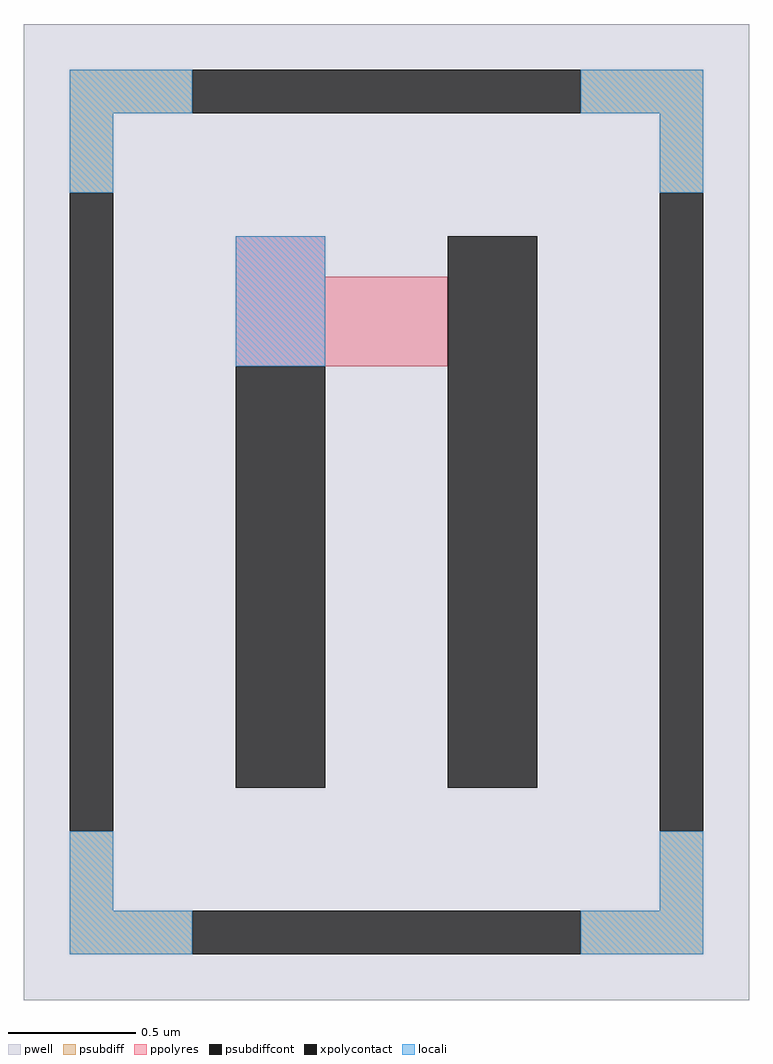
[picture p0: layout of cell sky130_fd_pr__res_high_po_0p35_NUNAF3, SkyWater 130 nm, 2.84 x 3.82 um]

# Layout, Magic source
magic
tech sky130A
<< pwell >>
rect -142 -191 142 191
<< psubdiff >>
rect -124 156 -76 173
rect 76 156 124 173
rect -124 125 -107 156
rect 107 125 124 156
rect -124 -156 -107 -125
rect 107 -156 124 -125
rect -124 -173 -76 -156
rect 76 -173 124 -156
<< psubdiffcont >>
rect -76 156 76 173
rect -124 -125 -107 125
rect 107 -125 124 125
rect -76 -173 76 -156
<< xpolycontact >>
rect -59 -108 -24 57
rect 24 -108 59 108
<< ppolyres >>
rect -59 92 -24 108
rect -59 57 24 92
<< locali >>
rect -124 156 -76 173
rect 76 156 124 173
rect -124 125 -107 156
rect 107 125 124 156
rect -59 57 -24 108
rect -124 -156 -107 -125
rect 107 -156 124 -125
rect -124 -173 -76 -156
rect 76 -173 124 -156
<< properties >>
string FIXED_BBOX -115 -164 115 164
string gencell sky130_fd_pr__res_high_po_0p35
string library sky130
string parameters w 0.35 l 2 m 1 nx 2 wmin 0.350 lmin 0.50 rho 319.8 val 5.087k dummy 0 dw 0.0 term 194.82 sterm 0.0 caplen 0 guard 1 glc 1 grc 1 gtc 1 gbc 1 compatible {sky130_fd_pr__res_high_po_0p35  sky130_fd_pr__res_high_po_0p69 sky130_fd_pr__res_high_po_1p41  sky130_fd_pr__res_high_po_2p85 sky130_fd_pr__res_high_po_5p73} snake 1 full_metal 1 wmax 0.350 vias 1 n_guard 0 hv_guard 0 viagb 0 viagt 0 viagl 0 viagr 0
<< end >>
